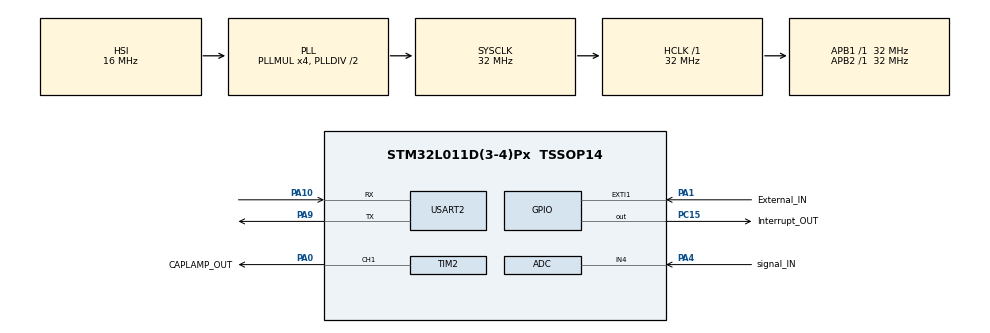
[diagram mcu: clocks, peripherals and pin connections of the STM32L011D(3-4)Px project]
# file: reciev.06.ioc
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ADC.ClockPrescaler=ADC_CLOCK_ASYNC_DIV1
ADC.ContinuousConvMode=ENABLE
ADC.DMAContinuousRequests=ENABLE
ADC.DataAlign=ADC_DATAALIGN_RIGHT
ADC.DiscontinuousConvMode=DISABLE
ADC.EOCSelection=ADC_EOC_SINGLE_CONV
ADC.EnableAnalogWatchDog=false
ADC.ExternalTrigConv=ADC_SOFTWARE_START
ADC.ExternalTrigConvEdge=ADC_EXTERNALTRIGCONVEDGE_NONE
ADC.LowPowerAutoPowerOff=DISABLE
ADC.LowPowerAutoWait=DISABLE
ADC.LowPowerFrequencyMode=DISABLE
ADC.Overrun=ADC_OVR_DATA_PRESERVED
ADC.OversamplingMode=ENABLE
ADC.Ratio=ADC_OVERSAMPLING_RATIO_16
ADC.Resolution=ADC_RESOLUTION_12B
ADC.RightBitShift=ADC_RIGHTBITSHIFT_NONE
ADC.SamplingTime=ADC_SAMPLETIME_7CYCLES_5
ADC.ScanConvMode=ADC_SCAN_DIRECTION_FORWARD
ADC.TriggeredMode=ADC_TRIGGEREDMODE_SINGLE_TRIGGER
Dma.ADC.0.Direction=DMA_PERIPH_TO_MEMORY
Dma.ADC.0.Instance=DMA1_Channel1
Dma.ADC.0.MemDataAlignment=DMA_MDATAALIGN_WORD
Dma.ADC.0.MemInc=DMA_MINC_ENABLE
Dma.ADC.0.Mode=DMA_CIRCULAR
Dma.ADC.0.PeriphDataAlignment=DMA_PDATAALIGN_WORD
Dma.ADC.0.PeriphInc=DMA_PINC_DISABLE
Dma.ADC.0.Priority=DMA_PRIORITY_LOW
Dma.Request0=ADC
Dma.Request1=TIM2_CH1
Dma.Request2=USART2_TX
Dma.Request3=USART2_RX
Dma.TIM2_CH1.1.Direction=DMA_MEMORY_TO_PERIPH
Dma.TIM2_CH1.1.Instance=DMA1_Channel5
Dma.TIM2_CH1.1.MemDataAlignment=DMA_MDATAALIGN_WORD
Dma.TIM2_CH1.1.MemInc=DMA_MINC_ENABLE
Dma.TIM2_CH1.1.Mode=DMA_NORMAL
Dma.TIM2_CH1.1.PeriphDataAlignment=DMA_PDATAALIGN_WORD
Dma.TIM2_CH1.1.PeriphInc=DMA_PINC_DISABLE
Dma.TIM2_CH1.1.Priority=DMA_PRIORITY_LOW
Dma.USART2_RX.3.Direction=DMA_PERIPH_TO_MEMORY
Dma.USART2_RX.3.Instance=DMA1_Channel3
Dma.USART2_RX.3.MemDataAlignment=DMA_MDATAALIGN_BYTE
Dma.USART2_RX.3.MemInc=DMA_MINC_ENABLE
Dma.USART2_RX.3.Mode=DMA_CIRCULAR
Dma.USART2_RX.3.PeriphDataAlignment=DMA_PDATAALIGN_BYTE
Dma.USART2_RX.3.PeriphInc=DMA_PINC_DISABLE
Dma.USART2_RX.3.Priority=DMA_PRIORITY_LOW
Dma.USART2_TX.2.Direction=DMA_MEMORY_TO_PERIPH
Dma.USART2_TX.2.Instance=DMA1_Channel2
Dma.USART2_TX.2.MemDataAlignment=DMA_MDATAALIGN_BYTE
Dma.USART2_TX.2.MemInc=DMA_MINC_ENABLE
Dma.USART2_TX.2.Mode=DMA_NORMAL
Dma.USART2_TX.2.PeriphDataAlignment=DMA_PDATAALIGN_BYTE
Dma.USART2_TX.2.PeriphInc=DMA_PINC_DISABLE
Dma.USART2_TX.2.Priority=DMA_PRIORITY_LOW
Mcu.Family=STM32L0
Mcu.Name=STM32L011D(3-4)Px
Mcu.Package=TSSOP14
NVIC.ADC1_COMP_IRQn=true\:0\:0\:false\:false\:true
NVIC.DMA1_Channel1_IRQn=true\:0\:0\:false\:false\:true
NVIC.DMA1_Channel2_3_IRQn=true\:0\:0\:false\:false\:true
NVIC.DMA1_Channel4_5_6_7_IRQn=true\:0\:0\:false\:false\:true
NVIC.EXTI0_1_IRQn=true\:0\:0\:false\:false\:true
NVIC.TIM21_IRQn=true\:0\:0\:false\:false\:true
NVIC.TIM2_IRQn=true\:0\:0\:false\:false\:true
NVIC.USART2_IRQn=true\:0\:0\:false\:false\:true
PA0-CK_IN.GPIO_Label=CAPLAMP_OUT
PA0-CK_IN.Signal=S_TIM2_CH1
PA1.GPIO_Label=External_IN
PA1.GPIO_ModeDefaultEXTI=GPIO_MODE_IT_RISING_FALLING
PA1.Signal=GPXTI1
PA10.Mode=Asynchronous
PA10.Signal=USART2_RX
PA13.Mode=Serial_Wire
PA13.Signal=SYS_SWDIO
PA14.Mode=Serial_Wire
PA14.Signal=SYS_SWCLK
PA4.GPIO_Label=signal_IN
PA4.Mode=IN4
PA4.Signal=ADC_IN4
PA9.Mode=Asynchronous
PA9.Signal=USART2_TX
PC15-OSC32_OUT.GPIO_Label=Interrupt_OUT
PC15-OSC32_OUT.Signal=GPIO_Output
ProjectManager.HeapSize=0x200
ProjectManager.StackSize=0x400
ProjectManager.TargetToolchain=MDK-ARM V5
RCC.ADCFreq_Value=16000000
RCC.AHBFreq_Value=32000000
RCC.APB1Freq_Value=32000000
RCC.APB1TimFreq_Value=32000000
RCC.APB2Freq_Value=32000000
RCC.APB2TimFreq_Value=32000000
RCC.HCLKFreq_Value=32000000
RCC.HSE_VALUE=8000000
RCC.HSI16_VALUE=16000000
RCC.HSI_VALUE=16000000
RCC.LSE_VALUE=32768
RCC.MSI_VALUE=2097000
RCC.PLLMUL=RCC_PLLMUL_4
RCC.SYSCLKFreq_VALUE=32000000
RCC.SYSCLKSource=RCC_SYSCLKSOURCE_PLLCLK
RCC.VCOOutputFreq_Value=64000000
SH.S_TIM2_CH1.0=TIM2_CH1,PWM Generation1 CH1
TIM2.Channel-PWM\ Generation1\ CH1=TIM_CHANNEL_1
TIM2.ClockDivision=TIM_CLOCKDIVISION_DIV4
TIM2.Period=1000
TIM2.Prescaler=8000-1
TIM2.Pulse-PWM\ Generation1\ CH1=500
TIM21.Period=3200
TIM21.Prescaler=2-1
USART2.VirtualMode-Asynchronous=VM_ASYNC
USART2.WordLength=WORDLENGTH_8B
VP_TIM21_VS_ClockSourceINT.Mode=Internal
VP_TIM2_VS_ClockSourceINT.Mode=Internal
board=reciev.06

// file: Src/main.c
/**
  ******************************************************************************
  * File Name          : main.c
  * Description        : Main program body
  ******************************************************************************
  ** This notice applies to any and all portions of this file
  * that are not between comment pairs USER CODE BEGIN and
  * USER CODE END. Other portions of this file, whether
  * inserted by the user or by software development tools
  * are owned by their respective copyright owners.
  *
  * COPYRIGHT(c) 2017 STMicroelectronics
  *
  * Redistribution and use in source and binary forms, with or without modification,
  * are permitted provided that the following conditions are met:
  *   1. Redistributions of source code must retain the above copyright notice,
  *      this list of conditions and the following disclaimer.
  *   2. Redistributions in binary form must reproduce the above copyright notice,
  *      this list of conditions and the following disclaimer in the documentation
  *      and/or other materials provided with the distribution.
  *   3. Neither the name of STMicroelectronics nor the names of its contributors
  *      may be used to endorse or promote products derived from this software
  *      without specific prior written permission.
  *
  * THIS SOFTWARE IS PROVIDED BY THE COPYRIGHT HOLDERS AND CONTRIBUTORS "AS IS"
  * AND ANY EXPRESS OR IMPLIED WARRANTIES, INCLUDING, BUT NOT LIMITED TO, THE
  * IMPLIED WARRANTIES OF MERCHANTABILITY AND FITNESS FOR A PARTICULAR PURPOSE ARE
  * DISCLAIMED. IN NO EVENT SHALL THE COPYRIGHT HOLDER OR CONTRIBUTORS BE LIABLE
  * FOR ANY DIRECT, INDIRECT, INCIDENTAL, SPECIAL, EXEMPLARY, OR CONSEQUENTIAL
  * DAMAGES (INCLUDING, BUT NOT LIMITED TO, PROCUREMENT OF SUBSTITUTE GOODS OR
  * SERVICES; LOSS OF USE, DATA, OR PROFITS; OR BUSINESS INTERRUPTION) HOWEVER
  * CAUSED AND ON ANY THEORY OF LIABILITY, WHETHER IN CONTRACT, STRICT LIABILITY,
  * OR TORT (INCLUDING NEGLIGENCE OR OTHERWISE) ARISING IN ANY WAY OUT OF THE USE
  * OF THIS SOFTWARE, EVEN IF ADVISED OF THE POSSIBILITY OF SUCH DAMAGE.
  *
  ******************************************************************************
  */
#include "main.h"
#include "stm32l0xx_hal.h"
#include "adc.h"
#include "dma.h"
#include "tim.h"
#include "usart.h"
#include "gpio.h"

/* USER CODE BEGIN Includes */
#define ADR_START 0x08080000
#include "stm32l0xx_it.h"

#include	"match_dsp.h"
/* USER CODE END Includes */

/* USER CODE BEGIN PV */
/* Private variables ---------------------------------------------------------*/

extern UART2Recv_t UART2_RecvType;
extern SettingParametrs_t SETUP;
extern Cmd_Type CMD;
uint32_t  buff1;
extern uint8_t blink_cnt;

extern UART_HandleTypeDef huart2;
//extern rxData_t rxDATA;
//extern txData_t txDATA;
extern DMA_HandleTypeDef hdma_tim2_ch1;

/* USER CODE END PV */

void SystemClock_Config(void);

/* USER CODE BEGIN PFP */
/* Private function prototypes -----------------------------------------------*/

/* USER CODE END PFP */

int main(void)
{

  /* MCU Configuration----------------------------------------------------------*/

  /* Reset of all peripherals, Initializes the Flash interface and the Systick. */
  HAL_Init();

  /* Configure the system clock */
  SystemClock_Config();

  /* Initialize all configured peripherals */
  MX_GPIO_Init();
  MX_DMA_Init();
  MX_ADC_Init();
  MX_TIM2_Init();
  MX_TIM21_Init();
  MX_USART2_UART_Init();

  /* USER CODE BEGIN 2 */
	HAL_GPIO_WritePin(HPT_Answer_OUT_GPIO_Port,HPT_Answer_OUT_Pin, GPIO_PIN_SET);
	HAL_GPIO_WritePin(Interrupt_OUT_GPIO_Port,Interrupt_OUT_Pin, GPIO_PIN_RESET);

	if(*(__IO uint32_t*)(ADR_START) == 0x00000000)
		DefaultSettings();
	else
		LoadSetting(&SETUP);

	//SaveSetting(&SETUP);

	UART2_RecvType = UART2_RECV_CMD;
	HAL_UART_Receive_IT(&huart2, (uint8_t *)&CMD,sizeof(CMD));

	HAL_ADCEx_Calibration_Start(&hadc,1);		// ���������� ���
	HAL_ADC_Start_DMA(&hadc, (uint32_t*)&buff1,1);			// ������ ��� ���

	blink(START);

	HAL_TIM_Base_Start_IT(&htim21);					//������ �������

  /* USER CODE END 2 */

  /* Infinite loop */
  while (1)
  {

  }

}

/** System Clock Configuration
*/
void SystemClock_Config(void)
{

  RCC_OscInitTypeDef RCC_OscInitStruct;
  RCC_ClkInitTypeDef RCC_ClkInitStruct;
  RCC_PeriphCLKInitTypeDef PeriphClkInit;

    /**Configure the main internal regulator output voltage
    */
  __HAL_PWR_VOLTAGESCALING_CONFIG(PWR_REGULATOR_VOLTAGE_SCALE1);

    /**Initializes the CPU, AHB and APB busses clocks
    */
  RCC_OscInitStruct.OscillatorType = RCC_OSCILLATORTYPE_HSI;
  RCC_OscInitStruct.HSIState = RCC_HSI_ON;
  RCC_OscInitStruct.HSICalibrationValue = 16;
  RCC_OscInitStruct.PLL.PLLState = RCC_PLL_ON;
  RCC_OscInitStruct.PLL.PLLSource = RCC_PLLSOURCE_HSI;
  RCC_OscInitStruct.PLL.PLLMUL = RCC_PLLMUL_4;
  RCC_OscInitStruct.PLL.PLLDIV = RCC_PLLDIV_2;
  if (HAL_RCC_OscConfig(&RCC_OscInitStruct) != HAL_OK)
  {
    _Error_Handler(__FILE__, __LINE__);
  }

    /**Initializes the CPU, AHB and APB busses clocks
    */
  RCC_ClkInitStruct.ClockType = RCC_CLOCKTYPE_HCLK|RCC_CLOCKTYPE_SYSCLK
                              |RCC_CLOCKTYPE_PCLK1|RCC_CLOCKTYPE_PCLK2;
  RCC_ClkInitStruct.SYSCLKSource = RCC_SYSCLKSOURCE_PLLCLK;
  RCC_ClkInitStruct.AHBCLKDivider = RCC_SYSCLK_DIV1;
  RCC_ClkInitStruct.APB1CLKDivider = RCC_HCLK_DIV1;
  RCC_ClkInitStruct.APB2CLKDivider = RCC_HCLK_DIV1;

  if (HAL_RCC_ClockConfig(&RCC_ClkInitStruct, FLASH_LATENCY_1) != HAL_OK)
  {
    _Error_Handler(__FILE__, __LINE__);
  }

  PeriphClkInit.PeriphClockSelection = RCC_PERIPHCLK_USART2;
  PeriphClkInit.Usart2ClockSelection = RCC_USART2CLKSOURCE_PCLK1;
  if (HAL_RCCEx_PeriphCLKConfig(&PeriphClkInit) != HAL_OK)
  {
    _Error_Handler(__FILE__, __LINE__);
  }

    /**Configure the Systick interrupt time
    */
  HAL_SYSTICK_Config(HAL_RCC_GetHCLKFreq()/1000);

    /**Configure the Systick
    */
  HAL_SYSTICK_CLKSourceConfig(SYSTICK_CLKSOURCE_HCLK);

  /* SysTick_IRQn interrupt configuration */
  HAL_NVIC_SetPriority(SysTick_IRQn, 0, 0);
}

void _Error_Handler(char * file, int line)
{
  while(1)
  {
  }
}

/************************ (C) COPYRIGHT STMicroelectronics *****END OF FILE****/
